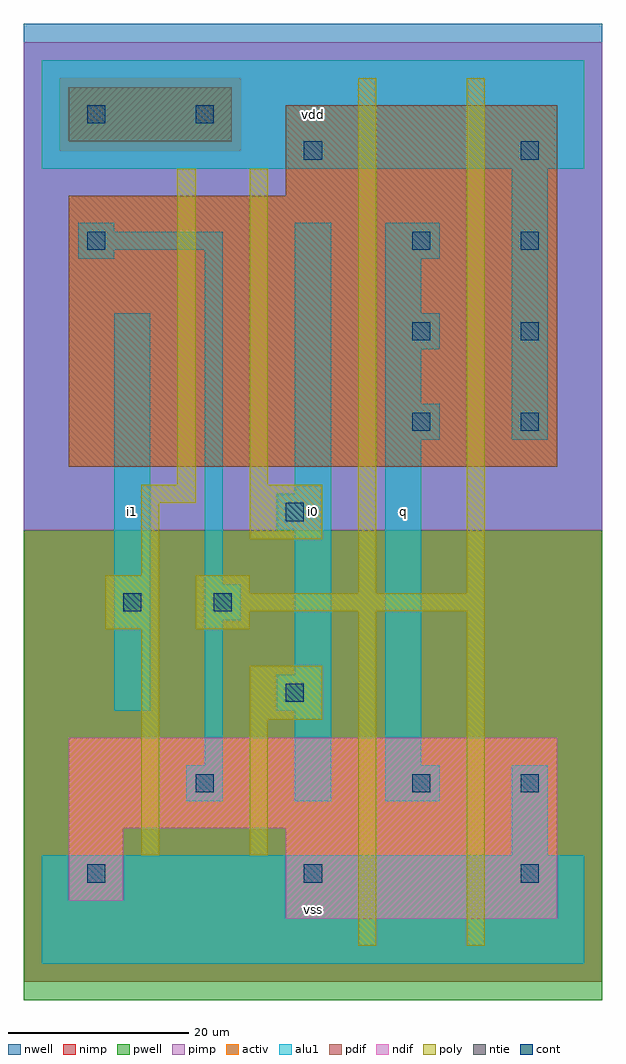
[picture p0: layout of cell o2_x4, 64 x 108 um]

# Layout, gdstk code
import gdstk
lib = gdstk.Library(unit=1e-6, precision=1e-09)
def R(c, l, rs):  # rectangles x0, y0, x1, y1
    for r in rs: c.add(gdstk.rectangle(r[:2], r[2:], *l))
def A(c, l, x, y, w, h, nx, ny, dx, dy):  # array of equal rectangles
    R(c, l, [(x+i*dx, y+j*dy, x+i*dx+w, y+j*dy+h) for i in range(nx) for j in range(ny)])
ndif = (3, 0)
pdif = (4, 0)
ntie = (5, 0)
cont = (25, 0)
pwell = (41, 0)
nwell = (42, 0)
activ = (43, 0)
pimp = (44, 0)
nimp = (45, 0)
poly = (46, 0)
alu1 = (49, 0)

o2_x4 = lib.new_cell('o2_x4')
R(o2_x4, ndif, [(27,5,57,15), (3,7,9,15), (3,15,57,25)])
R(o2_x4, pdif, [(3,55,57,85), (27,85,57,95)])
R(o2_x4, ntie, [(3,91,21,97)])
A(o2_x4, cont, 5, 9, 2, 2, 3, 1, 24, 0)
A(o2_x4, cont, 41, 59, 2, 2, 1, 3, 0, 10)
A(o2_x4, cont, 53, 59, 2, 2, 1, 4, 0, 10)
R(o2_x4, cont, [(17,19,19,21), (41,19,43,21), (53,19,55,21), (27,29,29,31), (9,39,11,41), (19,39,21,41), (27,49,29,51), (5,79,7,81), (29,89,31,91), (5,93,7,95), (17,93,19,95)])
R(o2_x4, pwell, [(-2,-4,62,48)])
R(o2_x4, nwell, [(-2,48,62,104)])
R(o2_x4, activ, [(27,5,57,15), (3,7,9,15), (3,15,57,25), (3,55,57,85), (27,85,57,95), (3,91,21,97)])
R(o2_x4, pimp, [(-2,48,62,90), (-2,90,2,98), (22,90,62,98), (-2,98,62,102)])
R(o2_x4, nimp, [(-2,-2,62,48), (2,90,22,98)])
R(o2_x4, poly, [(35,2,37,39), (47,2,49,39), (11,12,13,37), (23,12,25,27), (23,27,31,33), (7,37,13,43), (17,37,23,39), (17,39,49,41), (17,41,23,43), (35,41,37,98), (47,41,49,98), (11,43,13,51), (23,47,31,53), (11,51,17,53), (15,53,17,88), (23,53,25,88)])
A(o2_x4, alu1, 38, 58, 6, 4, 1, 3, 0, 10)
R(o2_x4, alu1, [(0,0,60,12), (52,12,56,22), (16,18,20,22), (28,18,32,28), (38,18,44,22), (18,22,20,38), (38,22,42,58), (8,28,12,72), (26,28,32,32), (28,32,32,48), (18,38,22,42), (18,42,20,79), (26,48,32,52), (28,52,32,82), (52,58,56,88), (38,62,42,68), (38,72,42,78), (4,78,8,79), (4,79,20,81), (4,81,8,82), (0,88,60,100)])
o2_x4.add(gdstk.Label('i1', (10,50), layer=49, texttype=0))
o2_x4.add(gdstk.Label('vss', (30,6), layer=49, texttype=0))
o2_x4.add(gdstk.Label('q', (40,50), layer=49, texttype=0))
o2_x4.add(gdstk.Label('i0', (30,50), layer=49, texttype=0))
o2_x4.add(gdstk.Label('vdd', (30,94), layer=49, texttype=0))

lib.write_gds('o2_x4.gds')
